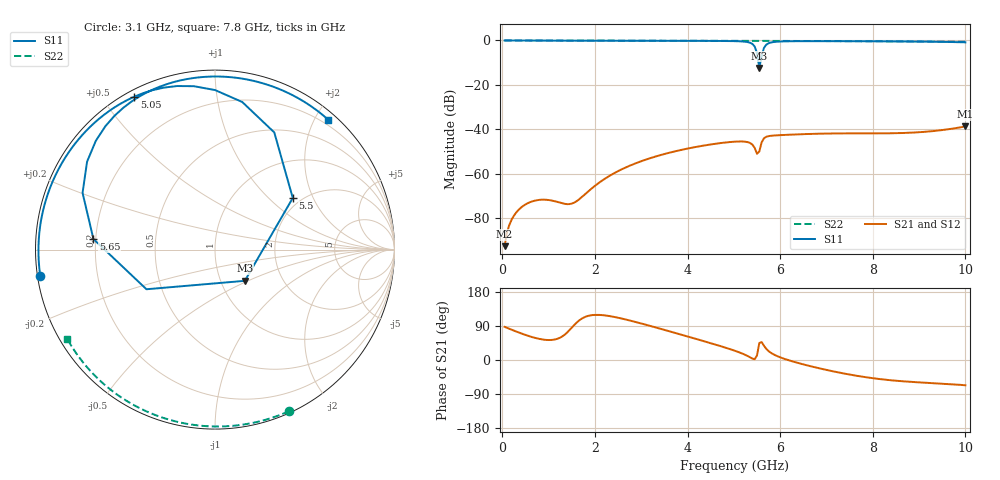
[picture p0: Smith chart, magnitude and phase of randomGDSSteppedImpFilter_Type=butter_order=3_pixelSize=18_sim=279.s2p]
! freq	dB(S11)	phase(S11)	dB(S12)	phase(S12)
!  dB(S21)	phase(S21)	dB(S22)	phase(S22)
!S-par simulation data
#  GHz  S  DB  R 50
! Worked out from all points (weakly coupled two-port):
!   200 points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, 50 MHz to 10 GHz, reference 50 ohm
!   highest |S21| = -38.71 dB at 10 GHz (marker M1); lowest = -92.6 dB at 50 MHz (marker M2)
!   lowest |S11| = -12.4 dB at 5.55 GHz (marker M3), VSWR 1.63, Z = 65 - j24 ohm
!   |S11| at or under -10 dB: 5.532 GHz to 5.573 GHz (40.22 MHz wide, 0.724 % of centre)
!   |S22| runs from -0.6 to 0.0 dB; largest |S21 - S12| = 0
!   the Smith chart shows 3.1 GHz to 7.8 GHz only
!   S11 on the Smith chart (normalised r, x): 3.1 GHz: 0.01, -0.08; 5.05 GHz: 0.03, +0.60; 5.5 GHz: 1.81, +1.42; 5.65 GHz: 0.19, +0.04; 7.8 GHz: 0.12, +2.19
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0.05  -0.00 -4.0  -92.62 87.4  -92.62 87.4  -0.00 -1.1
0.85  -0.08 -63.8  -71.70 54.5  -71.70 54.5  -0.02 -18.6
1.45  -0.10 -100.5  -73.67 78.7  -73.67 78.7  -0.04 -31.5
1.75  -0.11 -116.1  -69.91 111.5  -69.91 111.5  -0.05 -37.9
2.4  -0.12 -145.0  -59.95 114.1  -59.95 114.1  -0.07 -51.4
3.1  -0.14 -171.3  -53.64 93.1  -53.64 93.1  -0.08 -65.4
3.4  -0.14 178.4  -51.70 82.9  -51.70 82.9  -0.09 -71.3
4.3  -0.18 148.2  -47.50 51.6  -47.50 51.6  -0.12 -88.3
5.05  -0.33 117.8  -45.53 23.2  -45.53 23.2  -0.15 -101.9
5.35  -1.02 90.0  -46.16 7.1  -46.16 7.1  -0.17 -107.2
5.45  -2.71 63.2  -48.37 2.0  -48.37 2.0  -0.17 -109.0
5.5  -5.68 33.6  -51.01 12.1  -51.01 12.1  -0.18 -109.8
5.55  -12.37 -46.3  -50.00 45.0  -50.00 45.0  -0.18 -110.7
5.6  -7.11 -150.0  -45.90 47.3  -45.90 47.3  -0.18 -111.6
5.65  -3.35 175.0  -44.06 37.6  -44.06 37.6  -0.18 -112.4
5.75  -1.26 145.5  -43.08 23.5  -43.08 23.5  -0.19 -114.2
5.95  -0.53 122.9  -42.69 9.5  -42.69 9.5  -0.20 -117.6
6.7  -0.31 88.2  -42.05 -17.7  -42.05 -17.7  -0.25 -130.3
7.8  -0.36 49.0  -41.83 -44.5  -41.83 -44.5  -0.34 -148.7
8.35  -0.41 29.0  -41.80 -53.0  -41.80 -53.0  -0.39 -157.9
9.2  -0.55 -3.6  -41.01 -60.3  -41.01 -60.3  -0.48 -172.4
10  -0.85 -38.6  -38.71 -66.7  -38.71 -66.7  -0.58 173.4
